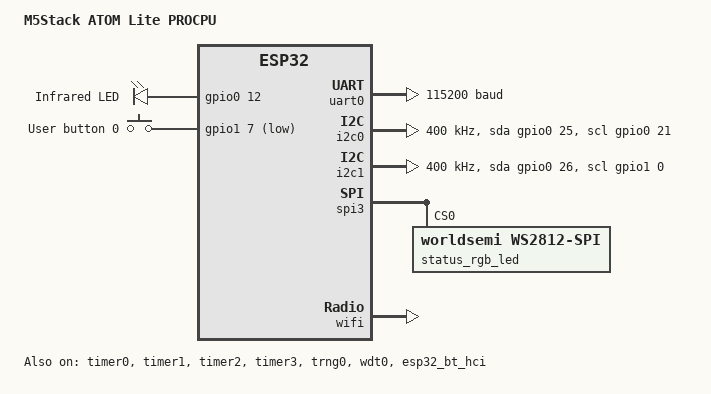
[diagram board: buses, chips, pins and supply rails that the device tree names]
/*
 * Copyright (c) 2024 Nikola Trifunovic <nikola@trifunovic.at>
 * Copyright (c) 2023 Benjamin Cabé <benjamin@zephyrproject.org>
 * Copyright (c) 2023 Martin Kiepfer <mrmarteng@teleschirm.org>
 *
 * SPDX-License-Identifier: Apache-2.0
 */
/dts-v1/;

#include <espressif/esp32/esp32_pico_d4.dtsi>
#include "m5stack_atom_lite-pinctrl.dtsi"
#include "grove_connectors.dtsi"
#include <zephyr/dt-bindings/input/input-event-codes.h>
#include <zephyr/dt-bindings/led/led.h>
#include <zephyr/dt-bindings/led/worldsemi_ws2812c.h>
#include <espressif/partitions_0x1000_amp.dtsi>

/ {
	model = "M5Stack ATOM Lite PROCPU";
	compatible = "m5stack,m5stack-atom-lite";

	chosen {
		zephyr,sram = &sram1;
		zephyr,console = &uart0;
		zephyr,shell-uart = &uart0;
		zephyr,flash = &flash0;
		zephyr,code-partition = &slot0_partition;
		zephyr,bt-hci = &esp32_bt_hci;
	};

	aliases {
		sw0 = &user_button_0;
		watchdog0 = &wdt0;
		i2c-0 = &i2c0;
		led-strip = &status_rgb_led;
	};

	leds {
		compatible = "gpio-leds";

		ir_led: led_0 {
			gpios =  <&gpio0 12 GPIO_ACTIVE_HIGH>;
			label = "Infrared LED";
		};
	};

	gpio_keys {
		compatible = "gpio-keys";

		user_button_0: button_0 {
			label = "User button 0";
			gpios = <&gpio1 7 GPIO_ACTIVE_LOW>; // G39
			zephyr,code = <INPUT_KEY_0>;
		};
	};
};

&uart0 {
	status = "okay";
	current-speed = <115200>;
	pinctrl-0 = <&uart0_default>;
	pinctrl-names = "default";
};

&i2c0 {
	status = "okay";
	clock-frequency = <I2C_BITRATE_FAST>;
	pinctrl-0 = <&i2c0_default>;
	pinctrl-names = "default";
	sda-gpios = <&gpio0 25 GPIO_OPEN_DRAIN>;
	scl-gpios = <&gpio0 21 GPIO_OPEN_DRAIN>;

};

&i2c1 {
	status = "okay";
	clock-frequency = <I2C_BITRATE_FAST>;
	pinctrl-0 = <&i2c1_default>;
	pinctrl-names = "default";
	sda-gpios = <&gpio0 26 GPIO_OPEN_DRAIN>;
	scl-gpios = <&gpio1 0 GPIO_OPEN_DRAIN>;
};


&timer0 {
	status = "okay";
};

&timer1 {
	status = "okay";
};

&timer2 {
	status = "okay";
};

&timer3 {
	status = "okay";
};

&trng0 {
	status = "okay";
};

&spi2 {
	#address-cells = <1>;
	#size-cells = <0>;
	pinctrl-0 = <&spim2_default>;
	pinctrl-names = "default";
};

/* used for SK6812 */
&spi3 {
	#address-cells = <1>;
	#size-cells = <0>;
	status = "okay";
	line-idle-low;
	pinctrl-0 = <&spim3_ws2812_led>;
	pinctrl-names = "default";

	status_rgb_led: ws2812@0 {
		compatible = "worldsemi,ws2812-spi";
		reg = <0>;
		spi-max-frequency = <WS2812C_SPI_FREQ>;

		chain-length = <1>;
		color-mapping =	<LED_COLOR_ID_GREEN>,
			<LED_COLOR_ID_RED>,
			<LED_COLOR_ID_BLUE>;
		spi-one-frame = <WS2812C_ONE_FRAME>;
		spi-zero-frame = <WS2812C_ZERO_FRAME>;
	};
};

&gpio0 {
	status = "okay";
};

&gpio1 {
	status = "okay";
};

&wdt0 {
	status = "okay";
};

&esp32_bt_hci {
	status = "okay";
};

&wifi {
	status = "okay";
};
